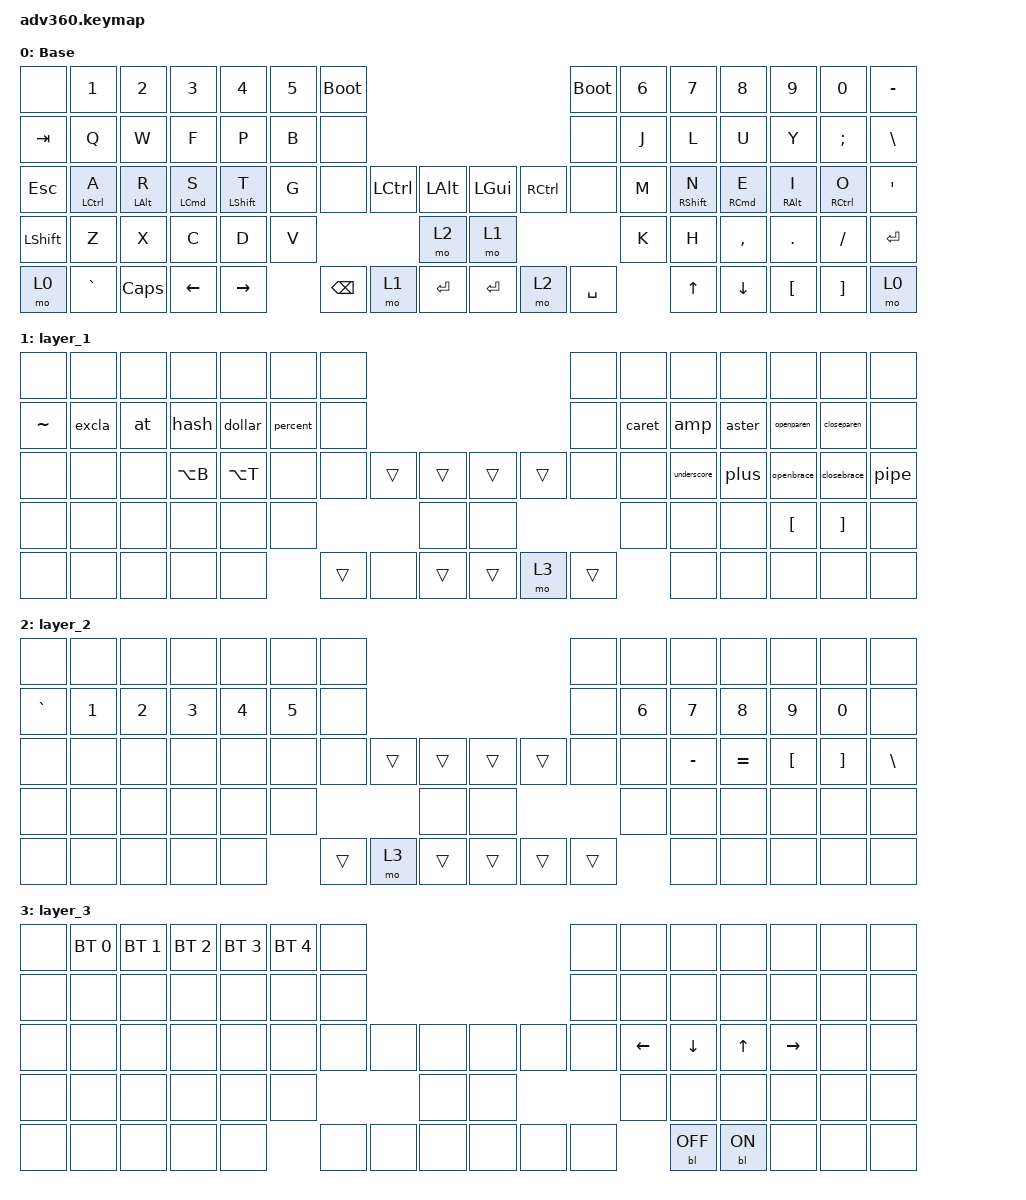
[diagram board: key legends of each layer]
#include <dt-bindings/zmk/stp.h>
#include <behaviors.dtsi>
#include <dt-bindings/zmk/backlight.h>
#include <dt-bindings/zmk/bt.h>
#include <dt-bindings/zmk/keys.h>

/ {
    behaviors {
        #include "macros.dtsi"
      #include "version.dtsi"

        hm: homerow_mods {
            compatible = "zmk,behavior-hold-tap";
            label = "HOMEROW_MODS";
            #binding-cells = <2>;
            tapping-term-ms = <200>;
            quick_tap_ms = <175>;
            flavor = "balanced";
            bindings = <&kp>, <&kp>;
        };

        hmr: hmr {
            compatible = "zmk,behavior-hold-tap";
            label = "HMR";
            #binding-cells = <2>;
            tapping-term-ms = <200>;
            quick_tap_ms = <175>;
            flavor = "balanced";
            bindings = <&kp>, <&kp>;

            hold-trigger-key-positions = <0 0 1 2 3 4 5 6 14 15 16 17 18 19 20 28 29 30 31 32 33 34 35 36 46 47 48 49 50 51 52 60 61 62 63 64 65 66 67>;
            hold-trigger-on-release;
        };

        hml: hml {
            compatible = "zmk,behavior-hold-tap";
            label = "HML";
            #binding-cells = <2>;
            tapping-term-ms = <200>;
            quick_tap_ms = <175>;
            flavor = "balanced";
            bindings = <&kp>, <&kp>;

            hold-trigger-key-positions = <7 8 9 10 11 12 13 21 22 23 24 25 26 27 37 38 39 40 41 42 43 44 45 53 54 55 56 57 58 59 68 69 70 71 72 73 74 75>;
            hold-trigger-on-release;
        };
    };

    macros {
        excla: excla {
            compatible = "zmk,behavior-macro";
            #binding-cells = <0>;
            bindings =
                <&macro_press>,
                <&kp LEFT_SHIFT>,
                <&macro_tap>,
                <&kp NUMBER_1>,
                <&macro_release>,
                <&kp LEFT_SHIFT>;

            label = "EXCLA";
        };

        at: at {
            compatible = "zmk,behavior-macro";
            #binding-cells = <0>;
            bindings =
                <&macro_press>,
                <&kp LEFT_SHIFT>,
                <&macro_tap>,
                <&kp NUMBER_2>,
                <&macro_release>,
                <&kp LEFT_SHIFT>;

            label = "AT";
        };

        hash: hash {
            compatible = "zmk,behavior-macro";
            #binding-cells = <0>;
            bindings =
                <&macro_press>,
                <&kp LEFT_SHIFT>,
                <&macro_tap>,
                <&kp NUMBER_3>,
                <&macro_release>,
                <&kp LEFT_SHIFT>;

            label = "HASH";
        };

        dollar: dollar {
            compatible = "zmk,behavior-macro";
            #binding-cells = <0>;
            bindings =
                <&macro_press>,
                <&kp LEFT_SHIFT>,
                <&macro_tap>,
                <&kp NUMBER_4>,
                <&macro_release>,
                <&kp LEFT_SHIFT>;

            label = "DOLLAR";
        };

        percent: percent {
            compatible = "zmk,behavior-macro";
            #binding-cells = <0>;
            bindings =
                <&macro_press>,
                <&kp LEFT_SHIFT>,
                <&macro_tap>,
                <&kp NUMBER_5>,
                <&macro_release>,
                <&kp LEFT_SHIFT>;

            label = "PERCENT";
        };

        caret: caret {
            compatible = "zmk,behavior-macro";
            #binding-cells = <0>;
            bindings =
                <&macro_press>,
                <&kp LEFT_SHIFT>,
                <&macro_tap>,
                <&kp NUMBER_6>,
                <&macro_release>,
                <&kp LEFT_SHIFT>;

            label = "CARET";
        };

        amp: amp {
            compatible = "zmk,behavior-macro";
            #binding-cells = <0>;
            bindings =
                <&macro_press>,
                <&kp LEFT_SHIFT>,
                <&macro_tap>,
                <&kp NUMBER_7>,
                <&macro_release>,
                <&kp LEFT_SHIFT>;

            label = "AMP";
        };

        aster: aster {
            compatible = "zmk,behavior-macro";
            #binding-cells = <0>;
            bindings =
                <&macro_press>,
                <&kp LEFT_SHIFT>,
                <&macro_tap>,
                <&kp N8>,
                <&macro_release>,
                <&kp LEFT_SHIFT>;

            label = "ASTER";
        };

        openparen: openparen {
            compatible = "zmk,behavior-macro";
            #binding-cells = <0>;
            bindings =
                <&macro_press>,
                <&kp LEFT_SHIFT>,
                <&macro_tap>,
                <&kp NUMBER_9>,
                <&macro_release>,
                <&kp LEFT_SHIFT>;

            label = "OPENPAREN";
        };

        closeparen: closeparen {
            compatible = "zmk,behavior-macro";
            #binding-cells = <0>;
            bindings =
                <&macro_press>,
                <&kp LEFT_SHIFT>,
                <&macro_tap>,
                <&kp NUMBER_0>,
                <&macro_release>,
                <&kp LEFT_SHIFT>;

            label = "CLOSEPAREN";
        };

        openbrace: openbrace {
            compatible = "zmk,behavior-macro";
            #binding-cells = <0>;
            bindings =
                <&macro_press>,
                <&kp LEFT_SHIFT>,
                <&macro_tap>,
                <&kp LEFT_BRACKET>,
                <&macro_release>,
                <&kp LEFT_SHIFT>;

            label = "OPENBRACE";
        };

        closebrace: new_macro {
            compatible = "zmk,behavior-macro";
            #binding-cells = <0>;
            bindings =
                <&macro_press>,
                <&kp LEFT_SHIFT>,
                <&macro_tap>,
                <&kp RIGHT_BRACKET>,
                <&macro_release>,
                <&kp LEFT_SHIFT>;

            label = "NEW_MACRO";
        };

        tilde: tilde {
            compatible = "zmk,behavior-macro";
            #binding-cells = <0>;
            bindings =
                <&macro_press>,
                <&kp LEFT_SHIFT>,
                <&macro_tap>,
                <&kp GRAVE>,
                <&macro_release>,
                <&kp LEFT_SHIFT>;

            label = "TILDE";
        };

        underscore: underscore {
            compatible = "zmk,behavior-macro";
            #binding-cells = <0>;
            bindings =
                <&macro_press>,
                <&kp LEFT_SHIFT>,
                <&macro_tap>,
                <&kp MINUS>,
                <&macro_release>,
                <&kp LEFT_SHIFT>;

            label = "UNDERSCORE";
        };

        plus: plus {
            compatible = "zmk,behavior-macro";
            #binding-cells = <0>;
            bindings =
                <&macro_press>,
                <&kp LEFT_SHIFT>,
                <&macro_tap>,
                <&kp EQUAL>,
                <&macro_release>,
                <&kp LEFT_SHIFT>;

            label = "PLUS";
        };

        pipe: pipe {
            compatible = "zmk,behavior-macro";
            #binding-cells = <0>;
            bindings =
                <&macro_press>,
                <&kp LEFT_SHIFT>,
                <&macro_tap>,
                <&kp BACKSLASH>,
                <&macro_release>,
                <&kp LEFT_SHIFT>;

            label = "PIPE";
        };
    };

    keymap {
        compatible = "zmk,keymap";

        default_layer {
            display-name = "Base";
            bindings = <
&none      &kp N1        &kp N2           &kp N3               &kp N4             &kp N5  &bootloader                                                     &bootloader  &kp N6  &kp N7              &kp N8                &kp N9            &kp N0         &kp MINUS
&kp TAB    &kp Q         &kp W            &kp F                &kp P              &kp B   &none                                                           &none        &kp J   &kp L               &kp U                 &kp Y             &kp SEMICOLON  &kp BSLH
&kp ESC    &hml LCTRL A  &hml LEFT_ALT R  &hml LEFT_COMMAND S  &hml LEFT_SHIFT T  &kp G   &none          &kp LCTRL  &kp LALT       &kp LGUI    &kp RCTRL  &none        &kp M   &hmr RIGHT_SHIFT N  &hmr RIGHT_COMMAND E  &hmr RIGHT_ALT I  &hmr RCTRL O   &kp APOSTROPHE
&kp LSHFT  &kp Z         &kp X            &kp C                &kp D              &kp V                             &mo 2          &mo 1                               &kp K   &kp H               &kp COMMA             &kp DOT           &kp FSLH       &kp RETURN
&mo 0      &kp GRAVE     &kp CAPS         &kp LEFT             &kp RIGHT                  &kp BACKSPACE  &mo 1      &kp ENTER      &kp RETURN  &mo 2      &kp SPACE            &kp UP              &kp DOWN              &kp LBKT          &kp RBKT       &mo 0
            >;
        };

        layer_1 {
            bindings = <
&none      &none   &none  &none      &none      &none     &none                                       &none   &none   &none        &none   &none             &none              &none
&kp TILDE  &excla  &at    &hash      &dollar    &percent  &none                                       &none   &caret  &amp         &aster  &openparen        &closeparen        &none
&none      &none   &none  &kp LA(B)  &kp LA(T)  &none     &none   &trans  &trans      &trans  &trans  &none   &none   &underscore  &plus   &openbrace        &closebrace        &pipe
&none      &none   &none  &none      &none      &none                     &none       &none                   &none   &none        &none   &kp LEFT_BRACKET  &kp RIGHT_BRACKET  &none
&none      &none   &none  &none      &none                &trans  &none   &trans      &trans  &mo 3   &trans          &none        &none   &none             &none              &none
            >;
        };

        layer_2 {
            bindings = <
&none      &none         &none         &none         &none         &none         &none                                       &none   &none         &none         &none         &none             &none              &none
&kp GRAVE  &kp NUMBER_1  &kp NUMBER_2  &kp NUMBER_3  &kp NUMBER_4  &kp NUMBER_5  &none                                       &none   &kp NUMBER_6  &kp NUMBER_7  &kp NUMBER_8  &kp NUMBER_9      &kp NUMBER_0       &none
&none      &none         &none         &none         &none         &none         &none   &trans  &trans      &trans  &trans  &none   &none         &kp MINUS     &kp EQUAL     &kp LEFT_BRACKET  &kp RIGHT_BRACKET  &kp BACKSLASH
&none      &none         &none         &none         &none         &none                         &none       &none                   &none         &none         &none         &none             &none              &none
&none      &none         &none         &none         &none                       &trans  &mo 3   &trans      &trans  &trans  &trans                &none         &none         &none             &none              &none
            >;
        };

        layer_3 {
            bindings = <
&none  &bt BT_SEL 0  &bt BT_SEL 1  &bt BT_SEL 2  &bt BT_SEL 3  &bt BT_SEL 4  &none                                  &none  &none           &none           &none         &none            &none  &none
&none  &none         &none         &none         &none         &none         &none                                  &none  &none           &none           &none         &none            &none  &none
&none  &none         &none         &none         &none         &none         &none  &none  &none      &none  &none  &none  &kp LEFT_ARROW  &kp DOWN_ARROW  &kp UP_ARROW  &kp RIGHT_ARROW  &none  &none
&none  &none         &none         &none         &none         &none                       &none      &none                &none           &none           &none         &none            &none  &none
&none  &none         &none         &none         &none                       &none  &none  &none      &none  &none  &none                  &bl BL_OFF      &bl BL_ON     &none            &none  &none
            >;
        };
    };
};
